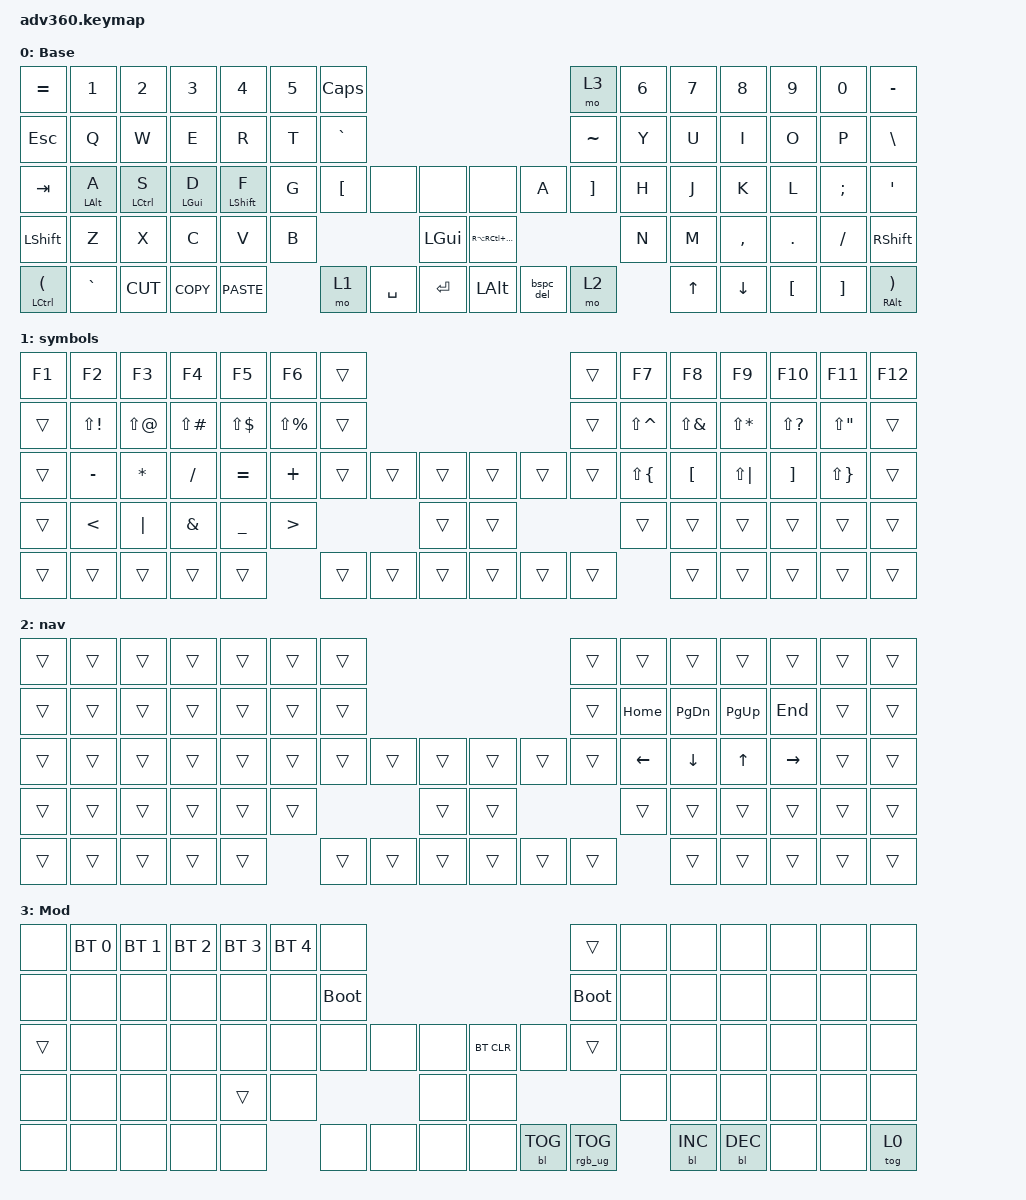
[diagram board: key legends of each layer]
/*
 * Copyright (c) 2020 The ZMK Contributors
 *
 * SPDX-License-Identifier: MIT
 */
/* THIS FILE WAS GENERATED!
 *
 * This file was generated automatically. You may or may not want to
 * edit it directly.
 */
#define default_layer 0
#define layer_symbols 1
#define layer_nav 2
#define layer_settings 3

#include <dt-bindings/zmk/stp.h>
#include <behaviors.dtsi>
#include <dt-bindings/zmk/backlight.h>
#include <dt-bindings/zmk/bt.h>
#include <dt-bindings/zmk/keys.h>
#include <dt-bindings/zmk/rgb.h>

/ {
    behaviors {
        #include "macros.dtsi"
        #include "version.dtsi"

        bspc_del: backspace_delete {
            compatible = "zmk,behavior-mod-morph";
            #binding-cells = <0>;
            bindings = <&kp BACKSPACE>, <&kp DELETE>;

            mods = <(MOD_LSFT|MOD_RSFT)>;
            keep-mods = <(MOD_RSFT)>;
        };

        hm: homerow_mods {
            compatible = "zmk,behavior-hold-tap";
            label = "HOMEROW_MODS";
            #binding-cells = <2>;
            tapping-term-ms = <300>;
            quick_tap_ms = <250>;
            flavor = "tap-preferred";
            bindings = <&kp>, <&kp>;
        };
    };

    keymap {
        compatible = "zmk,keymap";

        base {
            display-name = "Base";
            bindings = <
&kp EQUAL                   &kp N1          &kp N2              &kp N3          &kp N4            &kp N5  &kp CAPS                                                                         &mo 3              &kp N6  &kp N7  &kp N8     &kp N9    &kp N0    &kp MINUS
&kp ESCAPE                  &kp Q           &kp W               &kp E           &kp R             &kp T   &kp GRAVE                                                                        &kp TILDE          &kp Y   &kp U   &kp I      &kp O     &kp P     &kp BSLH
&kp TAB                     &hm LEFT_ALT A  &hm LEFT_CONTROL S  &hm LEFT_GUI D  &hm LEFT_SHIFT F  &kp G   &kp LEFT_BRACKET  &none      &none             &none                  &kp A      &kp RIGHT_BRACKET  &kp H   &kp J   &kp K      &kp L     &kp SEMI  &kp SQT
&kp LSHFT                   &kp Z           &kp X               &kp C           &kp V             &kp B                                &kp LEFT_GUI      &kp RA(RC(RG(RSHFT)))                                &kp N   &kp M   &kp COMMA  &kp DOT   &kp FSLH  &kp RSHFT
&mt LCTRL LEFT_PARENTHESIS  &kp GRAVE       &kp K_CUT           &kp K_COPY      &kp K_PASTE               &mo 1             &kp SPACE  &kp ENTER         &kp LEFT_ALT           &bspc_del  &mo 2                      &kp UP  &kp DOWN   &kp LBKT  &kp RBKT  &mt RALT RPAR
            >;
        };

        symbols {
            bindings = <
&kp F1  &kp F2        &kp F3        &kp F4         &kp F5          &kp F6            &trans                                      &trans  &kp F7         &kp F8        &kp F9        &kp F10        &kp F11       &kp F12
&trans  &kp LS(EXCL)  &kp LS(AT)    &kp LS(POUND)  &kp LS(DLLR)    &kp LS(PRCNT)     &trans                                      &trans  &kp LS(CARET)  &kp LS(AMPS)  &kp LS(STAR)  &kp LS(QMARK)  &kp LS(DQT)   &trans
&trans  &kp MINUS     &kp ASTERISK  &kp SLASH      &kp EQUAL       &kp PLUS          &trans  &trans  &trans      &trans  &trans  &trans  &kp LS(LBRC)   &kp LBKT      &kp LS(PIPE)  &kp RBKT       &kp LS(RBRC)  &trans
&trans  &kp LT        &kp PIPE      &kp AMPERSAND  &kp UNDERSCORE  &kp GREATER_THAN                  &trans      &trans                  &trans         &trans        &trans        &trans         &trans        &trans
&trans  &trans        &trans        &trans         &trans                            &trans  &trans  &trans      &trans  &trans  &trans                 &trans        &trans        &trans         &trans        &trans
            >;
        };

        nav {
            bindings = <
&trans  &trans  &trans  &trans  &trans  &trans  &trans                                      &trans  &trans    &trans     &trans     &trans     &trans  &trans
&trans  &trans  &trans  &trans  &trans  &trans  &trans                                      &trans  &kp HOME  &kp PG_DN  &kp PG_UP  &kp END    &trans  &trans
&trans  &trans  &trans  &trans  &trans  &trans  &trans  &trans  &trans      &trans  &trans  &trans  &kp LEFT  &kp DOWN   &kp UP     &kp RIGHT  &trans  &trans
&trans  &trans  &trans  &trans  &trans  &trans                  &trans      &trans                  &trans    &trans     &trans     &trans     &trans  &trans
&trans  &trans  &trans  &trans  &trans          &trans  &trans  &trans      &trans  &trans  &trans            &trans     &trans     &trans     &trans  &trans
            >;
        };

        mod {
            display-name = "Mod";
            bindings = <
&none   &bt BT_SEL 0  &bt BT_SEL 1  &bt BT_SEL 2  &bt BT_SEL 3  &bt BT_SEL 4  &none                                                  &trans           &none  &none       &none       &none  &none  &none
&none   &none         &none         &none         &none         &none         &bootloader                                            &bootloader      &none  &none       &none       &none  &none  &none
&trans  &none         &none         &none         &none         &none         &none        &none  &none      &bt BT_CLR  &none       &trans           &none  &none       &none       &none  &none  &none
&none   &none         &none         &none         &trans        &none                             &none      &none                                    &none  &none       &none       &none  &none  &none
&none   &none         &none         &none         &none                       &none        &none  &none      &none       &bl BL_TOG  &rgb_ug RGB_TOG         &bl BL_INC  &bl BL_DEC  &none  &none  &tog 0
            >;
        };
    };
};
